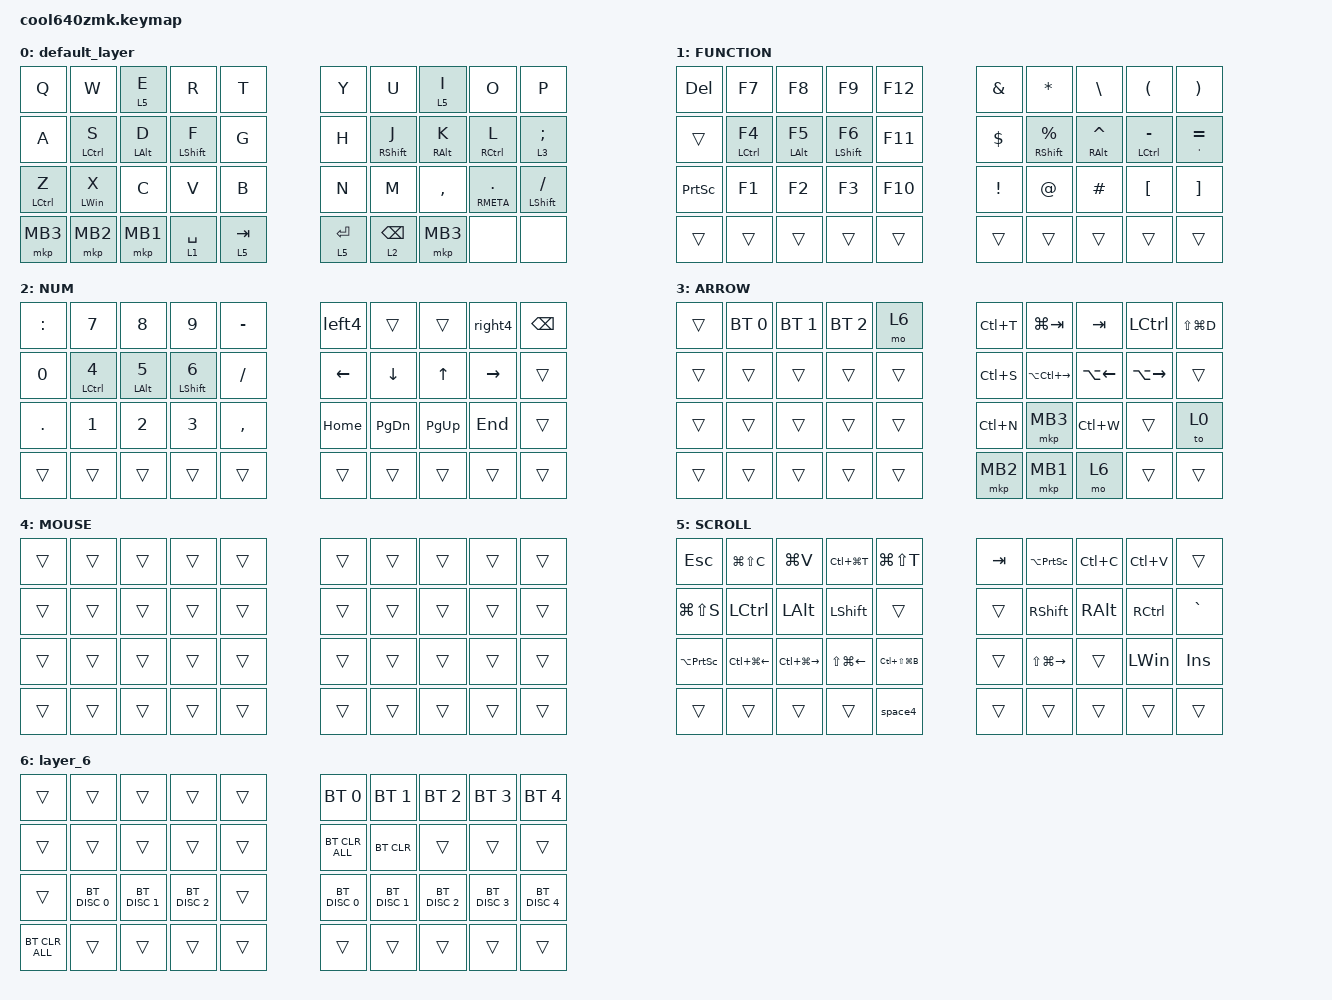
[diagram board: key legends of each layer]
// #define ZMK_POINTING_DEFAULT_MOVE_VAL 800 
// #define ZMK_POINTING_DEFAULT_SCRL_VAL 120

#include <behaviors.dtsi>
#include <dt-bindings/zmk/bt.h>
#include <dt-bindings/zmk/keys.h>
#include <dt-bindings/zmk/pointing.h>

// #include <dt-bindings/zmk/pointing.h>

#define MOUSE 4
#define SCROLL 5
#define NUM 6

&mt {
    flavor = "balanced";
    quick-tap-ms = <300>;
};

&lt { quick-tap-ms = <300>; };

/ {
    combos {
        compatible = "zmk,combos";

        cmb_esc {
            bindings = <&kp ESCAPE>;
            key-positions = <0 1>;
            layers = <0>;
        };

        cmb_mb3 {
            bindings = <&mkp MB3>;
            key-positions = <20 21>;
            layers = <0>;
        };

        cmb_mb2 {
            bindings = <&mkp MB2>;
            key-positions = <13 12>;
        };

        cmb_eng {
            bindings = <&kp LANG2>;
            key-positions = <23 22>;
        };

        cmb_jp {
            bindings = <&kp LANG1>;
            key-positions = <26 27>;
        };

        cmb_minus {
            bindings = <&kp MINUS>;
            key-positions = <18 19>;
        };

        cmb_quote {
            bindings = <&kp SINGLE_QUOTE>;
            key-positions = <28 29>;
        };
    };

    macros {
        to_layer_0: to_layer_0 {
            compatible = "zmk,behavior-macro-one-param";
            #binding-cells = <1>;
            bindings = <&to 0 &macro_param_1to1 &kp MACRO_PLACEHOLDER>;
            label = "TO_LAYER_0";
        };

        space4: space4 {
            compatible = "zmk,behavior-macro";
            #binding-cells = <0>;
            bindings = <&kp SPACE &kp SPACE &kp SPACE &kp SPACE>;
            label = "SPACE4";
        };

        right4: right4 {
            compatible = "zmk,behavior-macro";
            #binding-cells = <0>;
            bindings = <&kp RIGHT &kp RIGHT &kp RIGHT &kp RIGHT>;
            label = "RIGHT4";
        };

        left4: left4 {
            compatible = "zmk,behavior-macro";
            #binding-cells = <0>;
            bindings = <&kp LEFT &kp LEFT &kp LEFT &kp LEFT>;
            label = "LEFT4";
        };

        dispSW: dispSW {
            compatible = "zmk,behavior-macro";
            #binding-cells = <0>;
            bindings =
                <&macro_press>,
                <&kp LCTRL &kp LSHIFT &kp LWIN &kp B>,
                <&macro_release>,
                <&kp LCTRL &kp LSHIFT &kp LWIN &kp B>;

            label = "DISPSW";
        };
    };

    behaviors {
        lt_to_layer_0: lt_to_layer_0 {
            compatible = "zmk,behavior-hold-tap";
            label = "LAYER_TAP_TO_0";
            bindings = <&mo>, <&to_layer_0>;

            #binding-cells = <2>;
            tapping-term-ms = <200>;
        };
    };

    keymap {
        compatible = "zmk,keymap";

        default_layer {
            bindings = <
&kp Q        &kp W        &lt 5 E         &kp R         &kp T      &kp Y        &kp U            &lt 5 I          &kp O             &kp P
&kp A        &mt LCTRL S  &mt LEFT_ALT D  &mt LSHIFT F  &kp G      &kp H        &mt RSHIFT J     &mt RIGHT_ALT K  &mt RCTRL L       &lt 3 SEMICOLON
&mt LCTRL Z  &mt LWIN X   &kp C           &kp V         &kp B      &kp N        &kp M            &kp COMMA        &mt RMETA PERIOD  &mt LEFT_SHIFT SLASH
&mkp MB3     &mkp MB2     &mkp MB1        &lt 1 SPACE   &lt 5 TAB  &lt 5 ENTER  &lt 2 BACKSPACE  &mkp MB3         &none             &none
            >;
        };

        FUNCTION {
            bindings = <
&kp DELETE       &kp F7        &kp F8           &kp F9         &kp F12  &kp AMPERSAND    &kp ASTERISK        &kp BACKSLASH        &kp LEFT_PARENTHESIS  &kp RIGHT_PARENTHESIS
&trans           &mt LCTRL F4  &mt LEFT_ALT F5  &mt LSHIFT F6  &kp F11  &kp DOLLAR       &mt RSHIFT PERCENT  &mt RIGHT_ALT CARET  &mt LCTRL MINUS       &mt SQT EQUAL
&kp PRINTSCREEN  &kp F1        &kp F2           &kp F3         &kp F10  &kp EXCLAMATION  &kp AT_SIGN         &kp HASH             &kp LEFT_BRACKET      &kp RIGHT_BRACKET
&trans           &trans        &trans           &trans         &trans   &trans           &trans              &trans               &trans                &trans
            >;
        };

        NUM {
            bindings = <
&kp COLON  &kp N7              &kp N8           &kp N9               &kp MINUS  &left4    &trans          &trans        &right4    &kp BSPC
&kp N0     &mt LCTRL NUMBER_4  &mt LEFT_ALT N5  &mt LSHIFT NUMBER_6  &kp FSLH   &kp LEFT  &kp DOWN_ARROW  &kp UP_ARROW  &kp RIGHT  &trans
&kp DOT    &kp N1              &kp N2           &kp N3               &kp COMMA  &kp HOME  &kp PAGE_DOWN   &kp PAGE_UP   &kp END    &trans
&trans     &trans              &trans           &trans               &trans     &trans    &trans          &trans        &trans     &trans
            >;
        };

        ARROW {
            bindings = <
&trans  &bt BT_SEL 0  &bt BT_SEL 1  &bt BT_SEL 2  &mo 6   &kp LC(T)  &kp LG(TAB)        &kp TAB       &kp LCTRL      &kp LS(LG(D))
&trans  &trans        &trans        &trans        &trans  &kp LC(S)  &kp LA(LC(RIGHT))  &kp LA(LEFT)  &kp LA(RIGHT)  &trans
&trans  &trans        &trans        &trans        &trans  &kp LC(N)  &mkp MB3           &kp LC(W)     &trans         &to 0
&trans  &trans        &trans        &trans        &trans  &mkp MB2   &mkp MB1           &mo 6         &trans         &trans
            >;
        };

        MOUSE {
            bindings = <
&trans  &trans  &trans  &trans  &trans  &trans  &trans  &trans  &trans  &trans
&trans  &trans  &trans  &trans  &trans  &trans  &trans  &trans  &trans  &trans
&trans  &trans  &trans  &trans  &trans  &trans  &trans  &trans  &trans  &trans
&trans  &trans  &trans  &trans  &trans  &trans  &trans  &trans  &trans  &trans
            >;
        };

        SCROLL {
            bindings = <
&kp ESCAPE           &kp LG(LS(C))     &kp LG(V)          &kp LC(LG(T))     &kp LG(LS(T))      &kp TAB  &kp LA(PRINTSCREEN)  &kp LC(C)      &kp LC(V)  &trans
&kp LG(LS(S))        &kp LCTRL         &kp LEFT_ALT       &kp LSHIFT        &trans             &trans   &kp RSHIFT           &kp RIGHT_ALT  &kp RCTRL  &kp GRAVE
&kp LA(PRINTSCREEN)  &kp LC(LG(LEFT))  &kp LC(LG(RIGHT))  &kp LS(LG(LEFT))  &kp LC(LS(LG(B)))  &trans   &kp LS(LG(RIGHT))    &trans         &kp LWIN   &kp INSERT
&trans               &trans            &trans             &trans            &space4            &trans   &trans               &trans         &trans     &trans
            >;
        };

        layer_6 {
            bindings = <
&trans          &trans         &trans         &trans         &trans  &bt BT_SEL 0    &bt BT_SEL 1   &bt BT_SEL 2   &bt BT_SEL 3   &bt BT_SEL 4
&trans          &trans         &trans         &trans         &trans  &bt BT_CLR_ALL  &bt BT_CLR     &trans         &trans         &trans
&trans          &bt BT_DISC 0  &bt BT_DISC 1  &bt BT_DISC 2  &trans  &bt BT_DISC 0   &bt BT_DISC 1  &bt BT_DISC 2  &bt BT_DISC 3  &bt BT_DISC 4
&bt BT_CLR_ALL  &trans         &trans         &trans         &trans  &trans          &trans         &trans         &trans         &trans
            >;
        };
    };
};
